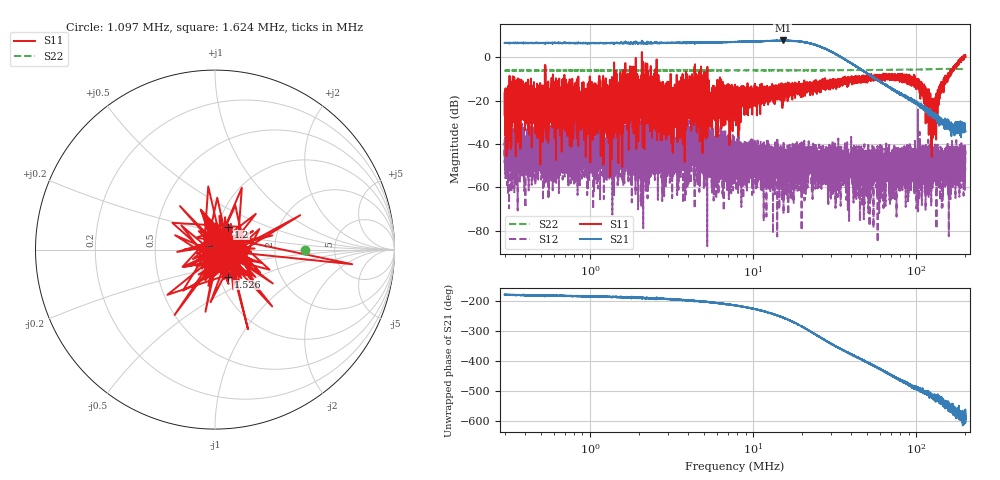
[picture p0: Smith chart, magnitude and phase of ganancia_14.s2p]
# Hz S DB R 50
! CMT, M5065, 19127446, 24.2.4/2
! Date: 11/1/2024 3:15:42 PM
! Data: Format (Calibration Info)
! Freq	S11:dB/Ang(F2)	S21:dB/Ang(F2)	S12:dB/Ang(F2)	S22:dB/Ang(F2)
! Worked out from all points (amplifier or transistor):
!   9000 points, 300 kHz to 200 MHz, reference 50 ohm
!   highest |S21| = 7.8 dB at 15.22 MHz (marker M1)
!   |S21| within 3 dB of that: start of sweep to 25.92 MHz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
!   unconditionally stable (mu >= 1): start of sweep to 1.91 MHz; 2.083 MHz to 191 MHz; 191.2 MHz to 192.9 MHz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
!   at 886.8 kHz: K = 24.98, MAG = 7.9 dB, |S12| = -43.1 dB
!   at 7.749 MHz: K = 14.57, MAG = 8.3 dB, |S12| = -38.9 dB
!   at 200 MHz: K = -113.93, MSG = 4.5 dB, |S12| = -43.2 dB
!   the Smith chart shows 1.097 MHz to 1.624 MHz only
!   S11 on the Smith chart (normalised r, x): 1.097 MHz: 1.16, -0.01; 1.2 MHz: 1.12, +0.29; 1.526 MHz: 1.10, -0.34; 1.624 MHz: 1.07, -0.03
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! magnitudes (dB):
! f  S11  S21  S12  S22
! 300 kHz  -26.6  6.6  -37.9  -6.0
! 313.5 kHz  -21.0  6.6  -31.8  -6.0
! 390.8 kHz  -28.0  6.8  -43.4  -5.9
! 506.6 kHz  -16.4  6.6  -39.8  -6.1
! 886.8 kHz  -20.5  6.6  -43.1  -6.1
! 1.097 MHz  -22.7  6.6  -39.3  -6.0
! 1.2 MHz  -16.6  6.6  -43.4  -6.1
! 1.526 MHz  -15.5  6.6  -47.3  -6.0
! 1.624 MHz  -28.2  6.7  -42.8  -6.0
! 2.621 MHz  -17.4  6.7  -39.6  -6.0
! 3.839 MHz  -18.2  6.7  -34.7  -6.0
! 4.734 MHz  -21.5  6.9  -57.3  -6.0
! 5.55 MHz  -16.1  7.0  -48.5  -6.0
! 6.284 MHz  -27.6  6.9  -44.3  -6.0
! 7.749 MHz  -24.8  7.0  -38.9  -6.0
! 15.22 MHz  -12.7  7.8  -44.8  -6.0
! 22.91 MHz  -12.3  6.3  -61.7  -6.0
! 67.71 MHz  -8.6  -13.7  -48.3  -5.7
! 102.2 MHz  -10.2  -21.7  -47.7  -5.6
! 126.8 MHz  -20.9  -26.5  -41.3  -5.4
! 145.8 MHz  -15.4  -28.8  -48.4  -5.3
! 200 MHz  0.2  -34.3  -43.2  -5.4
